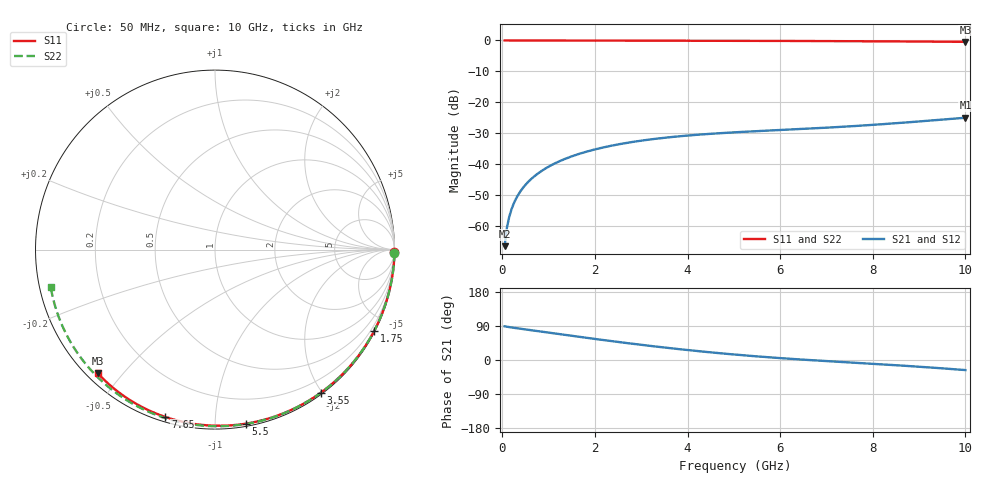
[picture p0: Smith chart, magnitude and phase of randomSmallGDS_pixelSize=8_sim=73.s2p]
! freq	dB(S11)	phase(S11)	dB(S12)	phase(S12)
!  dB(S21)	phase(S21)	dB(S22)	phase(S22)
!S-par simulation data
#  GHz  S  DB  R 50
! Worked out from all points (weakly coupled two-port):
!   200 points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, 50 MHz to 10 GHz, reference 50 ohm
!   highest |S21| = -24.96 dB at 10 GHz (marker M1); lowest = -66.4 dB at 50 MHz (marker M2)
!   lowest |S11| = -0.4 dB at 10 GHz (marker M3), VSWR 38.65, Z = 1.53 - j21.5 ohm
!   |S11| at or under -10 dB: nowhere
!   |S22| runs from -0.5 to 0.0 dB; largest |S21 - S12| = 0
!   S11 on the Smith chart (normalised r, x): 50 MHz: open; 1.75 GHz: 0.04, -4.16; 3.55 GHz: 0.02, -1.99; 5.5 GHz: 0.02, -1.19; 7.65 GHz: 0.02, -0.75; 10 GHz: 0.03, -0.43
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0.05  -0.00 -0.8  -66.45 88.9  -66.45 88.9  -0.00 -1.0
0.1  -0.00 -1.6  -60.45 87.8  -60.45 87.8  -0.00 -2.0
0.15  -0.00 -2.4  -56.95 86.8  -56.95 86.8  -0.00 -3.0
0.2  -0.00 -3.1  -54.48 85.8  -54.48 85.8  -0.00 -4.0
0.25  -0.00 -3.9  -52.57 84.9  -52.57 84.9  -0.00 -5.0
0.35  -0.00 -5.5  -49.69 83.2  -49.69 83.2  -0.01 -6.9
0.5  -0.01 -7.8  -46.64 80.7  -46.64 80.7  -0.01 -9.9
0.7  -0.01 -10.9  -43.77 77.3  -43.77 77.3  -0.02 -13.8
1  -0.02 -15.6  -40.76 72.2  -40.76 72.2  -0.02 -19.6
1.35  -0.03 -20.9  -38.29 66.3  -38.29 66.3  -0.03 -26.4
1.75  -0.04 -27.0  -36.22 59.6  -36.22 59.6  -0.04 -34.0
2.6  -0.05 -39.7  -33.31 46.1  -33.31 46.1  -0.07 -49.8
3.4  -0.07 -51.3  -31.61 34.3  -31.61 34.3  -0.09 -64.2
3.55  -0.07 -53.5  -31.36 32.3  -31.36 32.3  -0.09 -66.8
4.3  -0.09 -63.9  -30.36 22.6  -30.36 22.6  -0.12 -79.6
5.05  -0.12 -74.0  -29.64 14.1  -29.64 14.1  -0.14 -92.0
5.5  -0.13 -79.9  -29.29 9.5  -29.29 9.5  -0.16 -99.2
6.7  -0.19 -95.1  -28.41 -0.6  -28.41 -0.6  -0.23 -117.7
7.65  -0.24 -106.5  -27.61 -7.5  -27.61 -7.5  -0.30 -131.9
8.35  -0.29 -114.7  -26.90 -12.6  -26.90 -12.6  -0.36 -142.3
9.2  -0.37 -124.4  -25.93 -19.4  -25.93 -19.4  -0.45 -154.9
10  -0.45 -133.4  -24.96 -26.6  -24.96 -26.6  -0.55 -167.1
